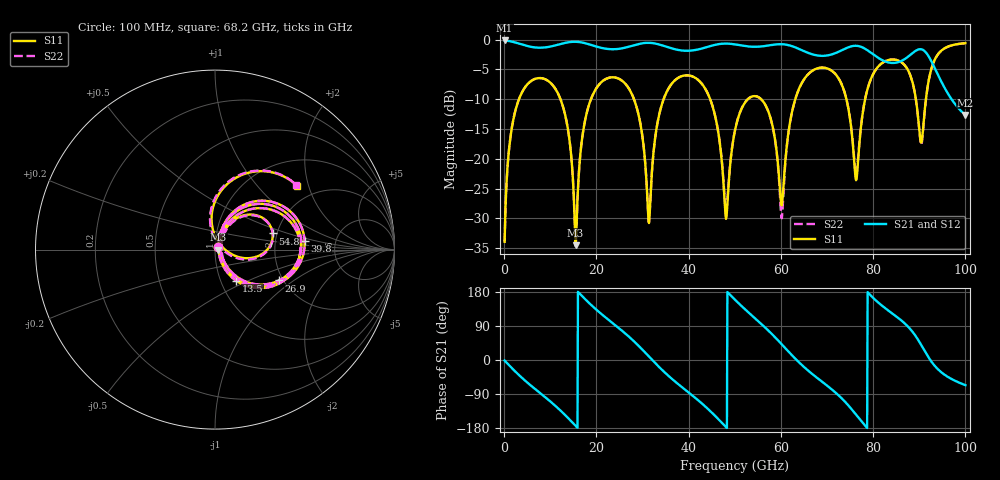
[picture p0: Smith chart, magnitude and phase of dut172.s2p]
! Touchstone file exported from HFSS 2026.1.0
!  File:  C:/ffzhzh/LocalFiles/Ansys_Project_Files/temp_test_TSV_RDL_172_1783467812_7600.aedt
!  Generated:  07:55:15 AM Jul  8, 2026
!  Design:  TSV_RDL
!  Project:  temp_test_TSV_RDL_172_1783467812_7600
! Variables:
!  h_bsmrdl = 4.04um
!  h_ox = 20um
!  h_rdl = 5um
!  h_sub = 59.23um
!  h_tmrdl = 2.76um
!  h_tsv = 59.23um
!  h_via = 3um
!  l_bsmrdl = 659.83um
!  l_sub = 3877.71um
!  l_tmrdl = 339.02um
!  m_sub = 200um
!  pitch = 50.63um
!  r_tsv = 14.08um
!  s_tmrdl = 10um
!  w_bsmrdl = 24.58um
!  w_sub = 500um
!  w_tmrdl = 22.8um
!  x_tsv_center1 = 350.42um
!  x_tsv_center2 = 1034.83um
!  x_tsv_center3 = 1396.65um
!  x_tsv_center4 = 2081.06um
!  x_tsv_center5 = 2442.88um
!  x_tsv_center6 = 3127.29um
# GHz S MA R 50.000000
! Terminal data exported
! Port[1] = TM_RDL1_1_T1
! Port[2] = TM_RDL5_1_T1
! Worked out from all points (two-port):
!   1000 points, 100 MHz to 100 GHz, reference 50 ohm
!   highest |S21| = -0.14 dB at 100 MHz (marker M1); lowest = -12.6 dB at 100 GHz (marker M2)
!   |S21| within 3 dB of the highest: start of sweep to 81.28 GHz; 87.09 GHz to 92.28 GHz (5.196 GHz wide, 5.79 % of centre)
!   lowest |S11| = -34.5 dB at 15.5 GHz (marker M3), VSWR 1.04, Z = 51.9 + j0.0183 ohm
!   |S11| at or under -10 dB: 12.21 GHz to 18.82 GHz (6.606 GHz wide, 42.6 % of centre); 44.67 GHz to 52.82 GHz (8.158 GHz wide, 16.7 % of centre); 55.72 GHz to 63.11 GHz (7.393 GHz wide, 12.4 % of centre) (the widest 3 of 7)
!   |S22| runs from -34.7 to -0.6 dB; largest |S21 - S12| = 4e-14
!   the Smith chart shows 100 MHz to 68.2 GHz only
!   S11 on the Smith chart (normalised r, x): 100 MHz: 1.03, +0.03; 13.5 GHz: 1.18, -0.43; 26.9 GHz: 1.90, -0.78; 39.8 GHz: 2.96, +0.37; 54.8 GHz: 1.89, +0.38; 68.2 GHz: 1.57, +1.68
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0.1  0.02012 37.3  0.9842 -1.4  0.9842 -1.4  0.02012 37.3
! Gamma 0 0 0 0
! Port Impedance 50 0 50 0
4.3  0.3863 35.0  0.8996 -51.8  0.8996 -51.8  0.3863 35.0
13.5  0.2085 -55.8  0.9438 -148.6  0.9438 -148.6  0.2086 -55.9
15.5  0.01886 0.5  0.9595 -173.7  0.9595 -173.7  0.0185 0.1
16.8  0.1379 70.6  0.9472 169.9  0.9472 169.9  0.1377 70.8
26.9  0.3963 -25.7  0.8697 63.2  0.8697 63.2  0.3963 -25.6
31.3  0.03022 -8.3  0.9403 10.4  0.9403 10.4  0.03058 -8.1
33.4  0.2151 65.7  0.915 -16.1  0.915 -16.1  0.2151 65.7
39.8  0.5015 5.4  0.8063 -83.8  0.8063 -83.8  0.5014 5.6
45.2  0.2746 -45.9  0.8938 -140.9  0.8938 -140.9  0.2748 -45.2
48.1  0.0314 1.3  0.9265 -176.9  0.9265 -176.9  0.03615 1.8
50.1  0.1769 59.3  0.9111 158.4  0.9111 158.4  0.178 57.6
54.8  0.3333 15.7  0.8715 105.6  0.8715 105.6  0.3335 14.5
60.2  0.04065 45.0  0.9153 41.2  0.9153 41.2  0.03174 45.8
66.7  0.5446 51.2  0.7554 -36.0  0.7554 -36.0  0.5441 52.0
68.2  0.5781 38.1  0.7338 -50.5  0.7338 -50.5  0.5779 38.8
73.4  0.4009 -8.2  0.8215 -103.8  0.8215 -103.8  0.4015 -7.1
76.3  0.06619 32.4  0.888 -144.4  0.888 -144.4  0.07331 32.8
83.4  0.6755 38.4  0.6425 129.6  0.6425 129.6  0.6756 38.0
88.8  0.3975 -6.0  0.7849 70.2  0.7849 70.2  0.3964 -6.7
91.3  0.2824 79.9  0.7912 21.1  0.7912 21.1  0.2792 80.9
100  0.9335 20.8  0.2335 -66.5  0.2335 -66.5  0.9332 21.0
